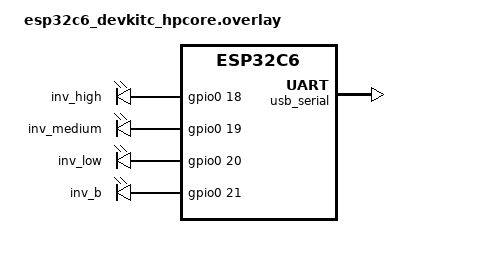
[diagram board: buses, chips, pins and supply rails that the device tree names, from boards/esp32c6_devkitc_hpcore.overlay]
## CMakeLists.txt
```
cmake_minimum_required(VERSION 3.20.0)

find_package(Zephyr REQUIRED HINTS $ENV{ZEPHYR_BASE})
project(lab6_inversion)

target_sources(app PRIVATE src/main.c)
```

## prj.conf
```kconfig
CONFIG_GPIO=y
CONFIG_SERIAL=y
CONFIG_CONSOLE=y
CONFIG_UART_CONSOLE=y
CONFIG_PRINTK=y
CONFIG_THREAD_NAME=y

CONFIG_MAIN_STACK_SIZE=1024
CONFIG_ISR_STACK_SIZE=512
```

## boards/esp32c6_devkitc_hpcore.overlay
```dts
#include <zephyr/dt-bindings/gpio/gpio.h>

/* Consola por USB Serial/JTAG integrado de la ESP32-C6 Mini. */
&usb_serial {
	status = "okay";
};

/ {
	chosen {
		zephyr,console = &usb_serial;
		zephyr,shell-uart = &usb_serial;
	};

	/*
	 * Señales de instrumentación de la Task B.
	 * GPIO18: hilo alto/control
	 * GPIO19: hilo medio/telemetría
	 * GPIO20: hilo bajo/consola
	 * GPIO21: sección crítica B
	 */
	lab6_instr {
		compatible = "gpio-leds";

		inv_high: inv_high {
			gpios = <&gpio0 18 GPIO_ACTIVE_HIGH>;
		};

		inv_medium: inv_medium {
			gpios = <&gpio0 19 GPIO_ACTIVE_HIGH>;
		};

		inv_low: inv_low {
			gpios = <&gpio0 20 GPIO_ACTIVE_HIGH>;
		};

		inv_b: inv_b {
			gpios = <&gpio0 21 GPIO_ACTIVE_HIGH>;
		};
	};
};
```

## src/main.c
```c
/*
 * Lab 6 — Task B: priority inversion and priority inheritance.
 *
 * high (priority 3)  = control
 * medium (priority 6) = telemetry
 * low (priority 9)   = slow console command
 *
 * First test: k_sem as a lock, which has no priority inheritance.
 * Second test: k_mutex, which has priority inheritance in Zephyr.
 */

#include <zephyr/kernel.h>
#include <zephyr/drivers/gpio.h>
#include <zephyr/sys/atomic.h>
#include <zephyr/sys/printk.h>

#define LOW_CRITICAL_US  3000U
#define MEDIUM_WORK_US  10000U

#define INSTR(node) GPIO_DT_SPEC_GET_OR(DT_NODELABEL(node), gpios, {0})

static const struct gpio_dt_spec instr_high = INSTR(inv_high);
static const struct gpio_dt_spec instr_medium = INSTR(inv_medium);
static const struct gpio_dt_spec instr_low = INSTR(inv_low);
static const struct gpio_dt_spec instr_b = INSTR(inv_b);

/* Semaphores used only to orchestrate the classic inversion sequence. */
K_SEM_DEFINE(low_go, 0, 1);
K_SEM_DEFINE(high_go, 0, 1);
K_SEM_DEFINE(medium_go, 0, 1);
K_SEM_DEFINE(case_done, 0, 1);

/* The two alternatives for the shared resource. */
K_SEM_DEFINE(shared_sem, 1, 1);
K_MUTEX_DEFINE(shared_mutex);

static atomic_t use_mutex;
static atomic_t high_wait_us;
static atomic_t low_hold_us;

static inline void instr_set(const struct gpio_dt_spec *pin, int value)
{
	if (pin->port != NULL) {
		gpio_pin_set_dt(pin, value);
	}
}

static void lock_shared(void)
{
	if (atomic_get(&use_mutex)) {
		(void)k_mutex_lock(&shared_mutex, K_FOREVER);
	} else {
		(void)k_sem_take(&shared_sem, K_FOREVER);
	}
}

static void unlock_shared(void)
{
	if (atomic_get(&use_mutex)) {
		k_mutex_unlock(&shared_mutex);
	} else {
		k_sem_give(&shared_sem);
	}
}

static void high_thread(void *p1, void *p2, void *p3)
{
	ARG_UNUSED(p1);
	ARG_UNUSED(p2);
	ARG_UNUSED(p3);

	while (true) {
		uint32_t requested;
		uint32_t acquired;

		k_sem_take(&high_go, K_FOREVER);

		instr_set(&instr_high, 1);
		requested = k_cycle_get_32();

		lock_shared();
		acquired = k_cycle_get_32();

		atomic_set(&high_wait_us,
			(atomic_val_t)k_cyc_to_us_floor32(acquired - requested));

		unlock_shared();
		instr_set(&instr_high, 0);

		k_sem_give(&case_done);
	}
}

static void medium_thread(void *p1, void *p2, void *p3)
{
	ARG_UNUSED(p1);
	ARG_UNUSED(p2);
	ARG_UNUSED(p3);

	while (true) {
		k_sem_take(&medium_go, K_FOREVER);

		instr_set(&instr_medium, 1);
		k_busy_wait(MEDIUM_WORK_US);
		instr_set(&instr_medium, 0);
	}
}

static void low_thread(void *p1, void *p2, void *p3)
{
	ARG_UNUSED(p1);
	ARG_UNUSED(p2);
	ARG_UNUSED(p3);

	while (true) {
		uint32_t held_start;
		uint32_t held_end;

		k_sem_take(&low_go, K_FOREVER);

		instr_set(&instr_low, 1);
		lock_shared();

		held_start = k_cycle_get_32();
		instr_set(&instr_b, 1);

		/*
		 * High wakes and tries the locked resource. It blocks.
		 * Then low makes medium ready and yields again.
		 */
		k_sem_give(&high_go);
		k_yield();

		k_sem_give(&medium_go);
		k_yield();

		/*
		 * With k_sem, medium (priority 6) runs before low (priority 9).
		 * With k_mutex, low inherits high's priority and medium cannot run.
		 */
		k_busy_wait(LOW_CRITICAL_US);

		held_end = k_cycle_get_32();
		atomic_set(&low_hold_us,
			(atomic_val_t)k_cyc_to_us_floor32(held_end - held_start));

		instr_set(&instr_b, 0);
		unlock_shared();
		instr_set(&instr_low, 0);
	}
}

static void run_case(bool mutex_mode)
{
	atomic_set(&use_mutex, mutex_mode ? 1 : 0);
	atomic_set(&high_wait_us, 0);
	atomic_set(&low_hold_us, 0);

	k_sem_give(&low_go);

	if (k_sem_take(&case_done, K_MSEC(100)) != 0) {
		printk("%s: timeout\n", mutex_mode ? "MUTEX" : "SEM");
		return;
	}

	printk("%s: high_wait_us=%ld low_lock_held_us=%ld "
	       "B_work_us=%u medium_work_us=%u\n",
	       mutex_mode ? "MUTEX" : "SEM",
	       (long)atomic_get(&high_wait_us),
	       (long)atomic_get(&low_hold_us),
	       LOW_CRITICAL_US,
	       MEDIUM_WORK_US);
}

static void run_no_contention(void)
{
	atomic_set(&use_mutex, 0);
	atomic_set(&high_wait_us, 0);
	atomic_set(&low_hold_us, 0);

	/*
	 * Solo despierta el hilo alto: el recurso está libre.
	 * Por tanto, esta es la referencia sin contención.
	 */
	k_sem_give(&high_go);

	if (k_sem_take(&case_done, K_MSEC(100)) != 0) {
		printk("NONE: timeout\n");
		return;
	}

	printk("NONE: high_wait_us=%ld low_lock_held_us=0\n",
	       (long)atomic_get(&high_wait_us));
}

static void runner_thread(void *p1, void *p2, void *p3)
{
	ARG_UNUSED(p1);
	ARG_UNUSED(p2);
	ARG_UNUSED(p3);

	k_sleep(K_SECONDS(1));

	while (true) {
	run_no_contention();
	k_sleep(K_SECONDS(2));

	run_case(false); /* k_sem: inversión, sin herencia. */
	k_sleep(K_SECONDS(2));

	run_case(true);  /* k_mutex: herencia de prioridad. */
	k_sleep(K_SECONDS(3));
	}
}

K_THREAD_DEFINE(high_tid, 1024, high_thread,
		NULL, NULL, NULL, 3, 0, 0);

K_THREAD_DEFINE(medium_tid, 1024, medium_thread,
		NULL, NULL, NULL, 6, 0, 0);

K_THREAD_DEFINE(low_tid, 1024, low_thread,
		NULL, NULL, NULL, 9, 0, 0);

K_THREAD_DEFINE(runner_tid, 1024, runner_thread,
		NULL, NULL, NULL, 10, 0, 0);

int main(void)
{
	const struct gpio_dt_spec *pins[] = {
		&instr_high, &instr_medium, &instr_low, &instr_b
	};

	for (size_t i = 0; i < ARRAY_SIZE(pins); i++) {
		if (pins[i]->port != NULL) {
			gpio_pin_configure_dt(pins[i], GPIO_OUTPUT_INACTIVE);
		}
	}

	printk("Lab 6 Task B: priority inversion\n");
	printk("SEM = broken; MUTEX = priority inheritance\n");
	printk("high=control, medium=telemetry, low=console\n");

	return 0;
}
```
